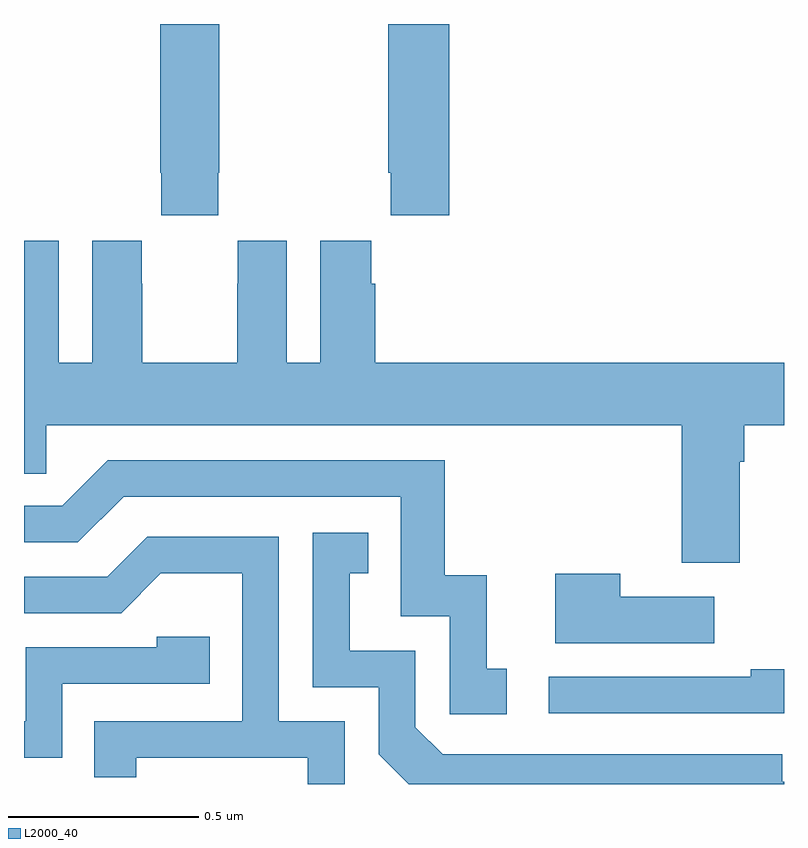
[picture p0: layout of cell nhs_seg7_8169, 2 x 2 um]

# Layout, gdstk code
import gdstk
lib = gdstk.Library(unit=1e-6, precision=1e-09)
def P(c, l, *ps):  # polygons
    for p in ps: c.add(gdstk.Polygon(p, *l))
L2000_40 = (2000, 40)

nhs_seg7_8169 = lib.new_cell('nhs_seg7_8169')
P(nhs_seg7_8169, L2000_40, [(221.511,1006.609),(221.514,1006.609),(221.514,1007),(221.359,1007),(221.359,1006.609),(221.361,1006.609),(221.361,1006.497),(221.511,1006.497)],
  [(222.119,1007),(221.959,1007),(221.959,1006.609),(221.965,1006.609),(221.965,1006.497),(222.119,1006.497)],
  [(222.883,1005.848),(222.896,1005.848),(222.896,1005.944),(223,1005.944),(223,1006.108),(221.924,1006.108),(221.924,1006.316),(221.914,1006.316),(221.914,1006.429),(221.78,1006.429),(221.78,1006.108),(221.692,1006.108),(221.692,1006.429),(221.562,1006.429),(221.562,1006.316),(221.561,1006.316),(221.561,1006.108),(221.311,1006.108),(221.311,1006.316),(221.31,1006.316),(221.31,1006.429),(221.18,1006.429),(221.18,1006.108),(221.092,1006.108),(221.092,1006.429),(221,1006.429),(221,1005.817),(221.058,1005.817),(221.058,1005.944),(222.731,1005.944),(222.731,1005.582),(222.883,1005.582)],
  [(222.271,1005.303),(222.218,1005.303),(222.218,1005.55),(222.107,1005.55),(222.107,1005.852),(221.22,1005.852),(221.1,1005.732),(221,1005.732),(221,1005.636),(221.142,1005.636),(221.262,1005.756),(221.991,1005.756),(221.991,1005.441),(222.12,1005.441),(222.12,1005.183),(222.271,1005.183)],
  [(223,1005.006),(222.996,1005.006),(222.996,1005.078),(222.102,1005.078),(222.03,1005.15),(222.03,1005.351),(221.857,1005.351),(221.857,1005.555),(221.906,1005.555),(221.906,1005.661),(221.76,1005.661),(221.76,1005.255),(221.934,1005.255),(221.934,1005.078),(222.013,1005),(223,1005)],
  [(221.844,1005.165),(221.67,1005.165),(221.67,1005.651),(221.324,1005.651),(221.219,1005.546),(221,1005.546),(221,1005.45),(221.256,1005.45),(221.36,1005.554),(221.574,1005.554),(221.574,1005.165),(221.185,1005.165),(221.185,1005.018),(221.296,1005.018),(221.296,1005.069),(221.747,1005.069),(221.747,1005),(221.844,1005)],
  [(222.817,1005.493),(222.569,1005.493),(222.569,1005.553),(222.398,1005.553),(222.398,1005.371),(222.817,1005.371)],
  [(221.1,1005.264),(221.489,1005.264),(221.489,1005.387),(221.349,1005.387),(221.349,1005.36),(221.004,1005.36),(221.004,1005.165),(221,1005.165),(221,1005.069),(221.1,1005.069)],
  [(223,1005.302),(222.913,1005.302),(222.913,1005.282),(222.381,1005.282),(222.381,1005.186),(223,1005.186)])

lib.write_gds('nhs_seg7_8169.gds')
